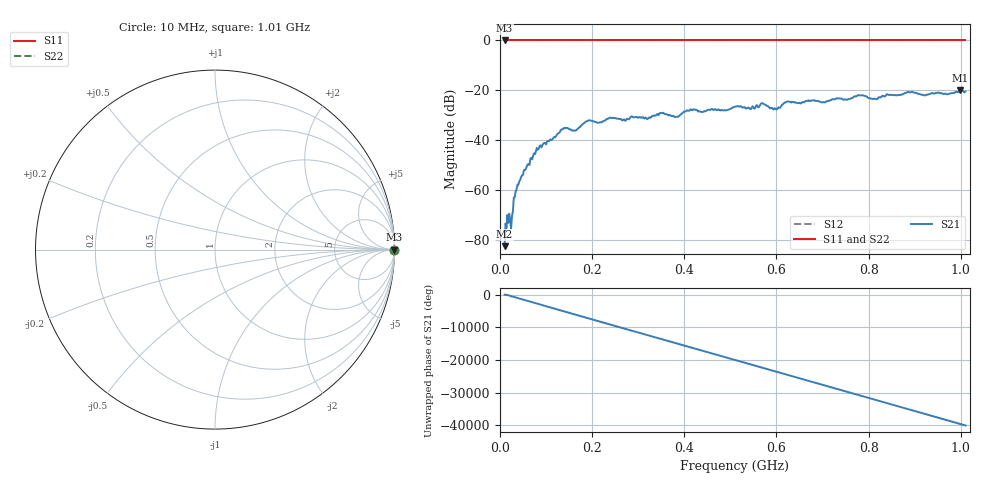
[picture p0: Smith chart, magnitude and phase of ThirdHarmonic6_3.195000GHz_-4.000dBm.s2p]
! 8/17/2025 9:41:05 AM
! C:\ANRITSUVNA\TEMP\TEMP.S2P
! CHANNEL.1
! TR.MEASUREMENT
! RAW.DATA
! RF.CORRECTION.OFF
! AVERAGING.OFF
! IF.BANDWIDTH: 5KHZ
! SWEEPTYPE:  FREQ.SWEEP(Linear)
! Reference Plane Port Info
! PORT:  PORT1  PORT2
! DISTANCE:  0  m  0  m
! TIME:  0  s  0  s
! PHASE.OFFSET:  0  deg.  0  deg.
! LOSS:  0  dB  0  dB
! REF.LOSS:  0  dB  0  dB
! REF.FREQ:  0  Hz  0  Hz
! Power Info
! POWER:  -20  dBm  -20  dBm
! EFF.POWER:  -20  dBm  -20  dBm
! SOURCE.ATTEN:  0  dB  0  dB
! TEST.ATTEN:  0  dB  0  dB
# GHZ S RI R 50.0
! FREQ.GHZ  S11RE  S11IM  S21RE  S21IM  S12RE  S12IM  S22RE  S22IM
!; PortSelection: Port_12
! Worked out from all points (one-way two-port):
!   501 points, 10 MHz to 1.01 GHz, reference 50 ohm
!   highest |S21| = -20.01 dB at 998 MHz (marker M1); lowest = -82.6 dB at 10 MHz (marker M2)
!   lowest |S11| = 0.0 dB at 10 MHz (marker M3)
!   |S11| at or under -10 dB: nowhere
!   |S22| runs from 0.0 to 0.0 dB; largest |S21 - S12| = 1.1
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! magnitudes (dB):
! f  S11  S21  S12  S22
! 10 MHz  0.0  -82.6  0.0  0.0
! 16 MHz  0.0  -70.1  0.0  0.0
! 26 MHz  0.0  -70.8  0.0  0.0
! 34 MHz  0.0  -60.6  0.0  0.0
! 38 MHz  0.0  -58.0  0.0  0.0
! 76 MHz  0.0  -45.7  0.0  0.0
! 136 MHz  0.0  -35.7  0.0  0.0
! 162 MHz  0.0  -36.2  0.0  0.0
! 178 MHz  0.0  -33.9  0.0  0.0
! 194 MHz  0.0  -32.1  0.0  0.0
! 318 MHz  0.0  -31.3  0.0  0.0
! 344 MHz  0.0  -30.0  0.0  0.0
! 384 MHz  0.0  -30.6  0.0  0.0
! 410 MHz  0.0  -28.3  0.0  0.0
! 510 MHz  0.0  -26.6  0.0  0.0
! 570 MHz  0.0  -25.3  0.0  0.0
! 598 MHz  0.0  -27.5  0.0  0.0
! 622 MHz  0.0  -24.7  0.0  0.0
! 678 MHz  0.0  -24.1  0.0  0.0
! 844 MHz  0.0  -21.9  0.0  0.0
! 998 MHz  0.0  -20.0  0.0  0.0
! 1.01 GHz  0.0  -20.5  0.0  0.0
